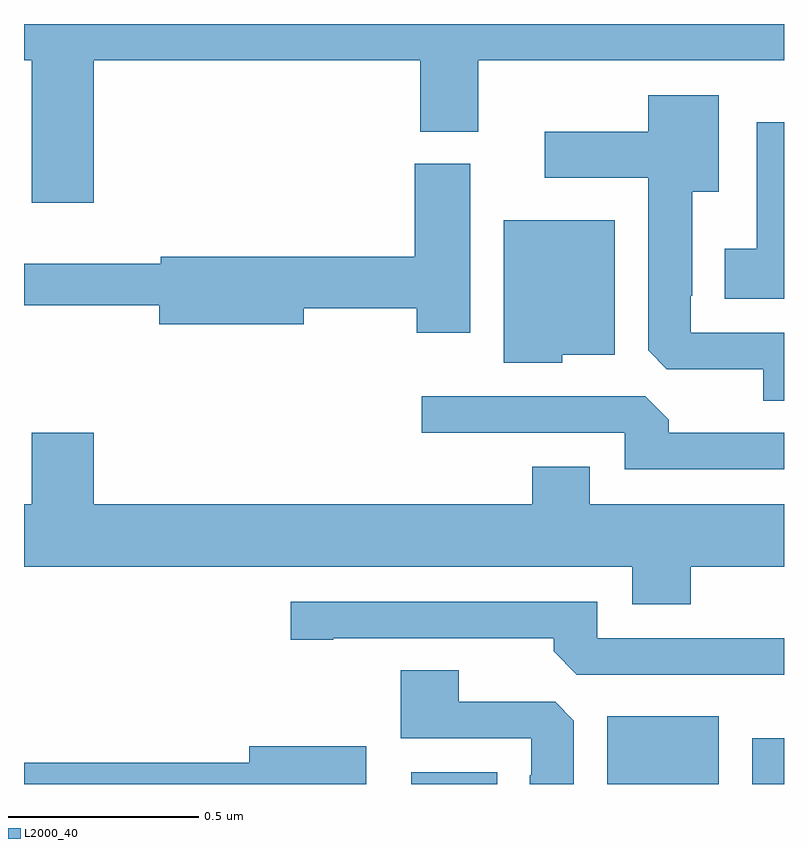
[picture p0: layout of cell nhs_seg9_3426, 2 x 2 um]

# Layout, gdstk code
import gdstk
lib = gdstk.Library(unit=1e-6, precision=1e-09)
def R(c, l, rs):  # rectangles x0, y0, x1, y1
    for r in rs: c.add(gdstk.rectangle(r[:2], r[2:], *l))
def P(c, l, *ps):  # polygons
    for p in ps: c.add(gdstk.Polygon(p, *l))
L2000_40 = (2000, 40)

nhs_seg9_3426 = lib.new_cell('nhs_seg9_3426')
R(nhs_seg9_3426, L2000_40, [(154.019,1210.5,154.246,1210.531), (154.535,1210.5,154.828,1210.678), (154.916,1210.5,155,1210.621)])
P(nhs_seg9_3426, L2000_40, [(153.184,1212.404),(154.043,1212.404),(154.043,1212.217),(154.195,1212.217),(154.195,1212.404),(155,1212.404),(155,1212.5),(153,1212.5),(153,1212.404),(153.02,1212.404),(153.02,1212.03),(153.184,1212.03)],
  [(155,1211.688),(154.755,1211.688),(154.755,1211.785),(154.759,1211.785),(154.759,1212.059),(154.828,1212.059),(154.828,1212.313),(154.643,1212.313),(154.643,1212.217),(154.371,1212.217),(154.371,1212.095),(154.643,1212.095),(154.643,1211.641),(154.692,1211.592),(154.946,1211.592),(154.946,1211.509),(155,1211.509)],
  [(155,1212.241),(154.928,1212.241),(154.928,1211.908),(154.844,1211.908),(154.844,1211.777),(155,1211.777)],
  [(154.174,1212.132),(154.028,1212.132),(154.028,1211.888),(153.36,1211.888),(153.36,1211.869),(153,1211.869),(153,1211.76),(153.356,1211.76),(153.356,1211.71),(153.736,1211.71),(153.736,1211.752),(154.033,1211.752),(154.033,1211.688),(154.174,1211.688)],
  [(154.416,1211.63),(154.555,1211.63),(154.555,1211.983),(154.262,1211.983),(154.262,1211.609),(154.416,1211.609)],
  [(155,1211.424),(154.697,1211.424),(154.697,1211.458),(154.635,1211.52),(154.047,1211.52),(154.047,1211.424),(154.581,1211.424),(154.581,1211.328),(155,1211.328)],
  [(154.754,1211.072),(155,1211.072),(155,1211.236),(154.489,1211.236),(154.489,1211.335),(154.337,1211.335),(154.337,1211.236),(153.184,1211.236),(153.184,1211.425),(153.02,1211.425),(153.02,1211.236),(153,1211.236),(153,1211.072),(154.601,1211.072),(154.601,1210.973),(154.754,1210.973)],
  [(155,1210.884),(154.509,1210.884),(154.509,1210.98),(153.702,1210.98),(153.702,1210.879),(153.814,1210.879),(153.814,1210.884),(154.394,1210.884),(154.394,1210.85),(154.455,1210.788),(155,1210.788)],
  [(154.447,1210.667),(154.398,1210.716),(154.144,1210.716),(154.144,1210.799),(153.992,1210.799),(153.992,1210.62),(154.335,1210.62),(154.335,1210.523),(154.331,1210.523),(154.331,1210.5),(154.447,1210.5)],
  [(153.901,1210.6),(153.593,1210.6),(153.593,1210.556),(153,1210.556),(153,1210.5),(153.901,1210.5)])

lib.write_gds('nhs_seg9_3426.gds')
